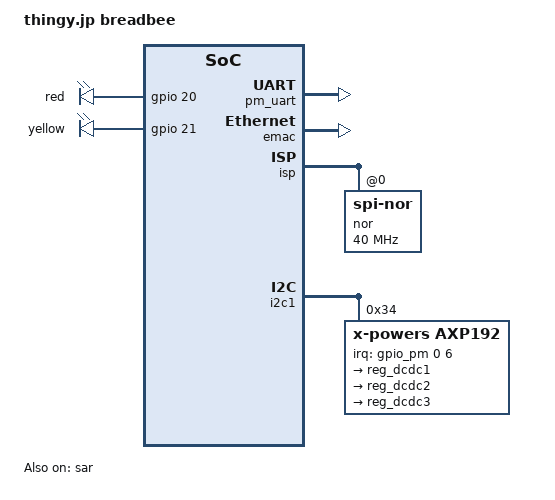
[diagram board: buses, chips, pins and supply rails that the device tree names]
// SPDX-License-Identifier: GPL-2.0
/*
 * Copyright (c) 2019 thingy.jp.
 * Author: Daniel Palmer <daniel@thingy.jp>
 */

/dts-v1/;
#include "infinity3-msc313e.dtsi"

/ {
	model = "thingy.jp breadbee";
	compatible = "thingyjp,breadbee", "mstar,infinity3", "mstar,infinity";

	chosen {
		stdout-path = "serial0:115200n8";
		bootargs = "console=ttyS0,115200 root=/dev/mtdblock3 clk_ignore_unused quiet";
	};

	aliases {
		console = &pm_uart;
		ethernet0 = &emac;
	};
	
	leds {
		compatible = "gpio-leds";
		red {
			gpios = <&gpio 20 GPIO_ACTIVE_HIGH>;
			linux,default-trigger = "activity";
		};
		yellow {
			gpios = <&gpio 21 GPIO_ACTIVE_HIGH>;
			linux,default-trigger = "heartbeat";
		};
	};
};

&pm_uart {
	status = "okay";
};

&emac {
	status = "okay";
};

&isp {
	status = "okay";
	nor: nor@0 {
		#address-cells = <1>;
		#size-cells = <1>;
		compatible = "jedec,spi-nor";
		reg = <0>;
		spi-max-frequency = <40000000>;
		#include "msc313e-breadbee-partitions.dtsi"
	};
};

&sar {
	status = "okay";
};

&i2c1 {
	status = "okay";
	axp192: pmic@34 {
		compatible = "x-powers,axp192";
		reg = <0x34>;
		interrupts-extended = <&gpio_pm 0 6 IRQ_TYPE_LEVEL_HIGH>;
		
		interrupt-controller;
		#interrupt-cells = <1>;
		
		regulators {
			/* Default work frequency for buck regulators */
			x-powers,dcdc-freq = <1500>;

			reg_dcdc1: dcdc1 {
				regulator-name = "dcdc1";
			};

			reg_dcdc2: dcdc2 {
				regulator-name = "dcdc2";
			};

			reg_dcdc3: dcdc3 {
				regulator-name = "dcdc3";
			};
		};
	};
};
